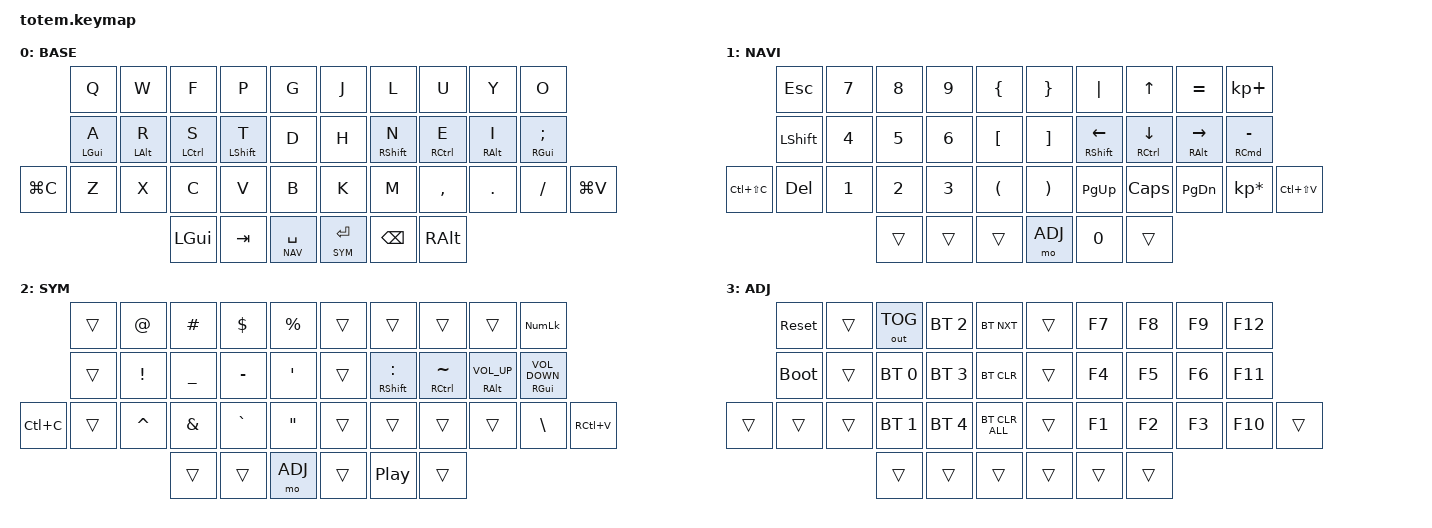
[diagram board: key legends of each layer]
//
//                                                        ▀▀▀▀▀     ▀▀▀▀▀          ▀▀█▀▀
//                                                        ▄▀▀▀▄  ▄  ▄▀▀▀▄  ▄  ▄▀▀▀▄  █  ▄▀▀▀▄
//                                                        █   █  █  █   █  █  █   █  █  █   █
//                                                         ▀▀▀   █   ▀▀▀   █   ▀▀▀   ▀   ▀▀▀
//                                                               █      ▄▄▄█▄▄▄    █   █  
//                                                               ▀      █  █  █     █▄█
//                                                             ▀▀▀▀▀    █  █  █      ▀
//                                                                      ▀  ▀  ▀
//
// ▄▄▄▄▄▄▄▄▄▄▄▄▄▄▄▄▄▄▄▄▄▄▄▄▄▄▄▄▄▄▄▄▄▄▄▄▄▄▄▄▄▄▄▄▄▄▄▄▄▄▄▄▄▄▄▄▄▄▄▄▄▄▄▄▄▄▄▄▄▄▄▄▄▄▄▄▄▄▄▄▄▄▄▄▄▄▄▄▄▄▄▄▄▄▄▄▄▄▄▄▄▄▄▄▄▄▄▄▄▄▄▄▄▄▄▄▄▄▄▄▄▄▄▄▄▄▄▄▄▄▄▄▄▄▄▄▄▄▄▄▄▄▄▄▄▄▄▄▄

#include <behaviors.dtsi>
#include <dt-bindings/zmk/bt.h>
#include <dt-bindings/zmk/keys.h>
#include <dt-bindings/zmk/outputs.h>

#define BASE 0
#define NAV  1
#define SYM  2
#define ADJ  3

&mt {
    quick-tap-ms = <100>;
    global-quick-tap;
    flavor = "tap-preferred";
    tapping-term-ms = <170>;
};

/ {
    combos {
        compatible = "zmk,combos";

        combo_esc {
            timeout-ms = <50>;
            key-positions = <0 1>;
            bindings = <&kp ESC>;
        };
    };

    macros {
        gif: gif {
            label = "giphy";
            compatible = "zmk,behavior-macro";
            #binding-cells = <0>;
            bindings =
                <&macro_press>,
                <&kp LSHFT>,
                <&macro_tap>,
                <&kp N2>,
                <&macro_release>,
                <&kp LSHFT>,
                <&macro_tap>,
                <&kp G &kp I &kp F>;
        };
    };

    keymap {
        compatible = "zmk,keymap";

        // ▄▄▄▄▄▄▄▄▄▄▄▄▄▄▄▄▄▄▄▄▄▄▄▄▄▄▄▄▄▄▄▄▄▄▄▄▄▄▄▄▄▄▄▄▄▄▄▄▄▄▄▄▄▄▄▄▄▄▄▄▄▄▄▄▄▄▄▄▄▄▄▄▄▄▄▄▄▄▄▄▄▄▄▄▄▄▄▄▄▄▄▄▄▄▄▄▄▄▄▄▄▄▄▄▄▄▄▄▄▄▄▄▄▄▄▄▄▄▄▄▄▄▄▄▄▄▄▄▄▄▄▄▄▄▄▄▄▄▄▄▄▄▄▄▄▄▄▄▄

        base_layer {
            // ┏━━━━━━━━━━━━━━━━━━━━━━━━━━━━━━━━━━━━━━━┓

            label = "BASE";

            // ┗━━━━━━━━━━━━━━━━━━━━━━━━━━━━━━━━━━━━━━━┛
            //             ┏━━━━━━━━━━━┳━━━━━━━━━━━┳━━━━━━━━━━━┳━━━━━━━━━━━┳━━━━━━━━━━━┓   ┏━━━━━━━━━━━┳━━━━━━━━━━━┳━━━━━━━━━━━┳━━━━━━━━━━━┳━━━━━━━━━━━┓
            //             ┃     Q     ┃     W     ┃     F     ┃     P     ┃     G     ┃   ┃     J     ┃     L     ┃     U     ┃     Y     ┃     ;     ┃
            //             ┣━━━━━━━━━━━╋━━━━━━━━━━━╋━━━━━━━━━━━╋━━━━━━━━━━━╋━━━━━━━━━━━┫   ┣━━━━━━━━━━━╋━━━━━━━━━━━╋━━━━━━━━━━━╋━━━━━━━━━━━╋━━━━━━━━━━━┫
            //             ┃     A     ┃     R     ┃     S     ┃     T     ┃     D     ┃   ┃     H     ┃     N     ┃     E     ┃     I     ┃     O     ┃
            // ┏━━━━━━━━━━━╋━━━━━━━━━━━╋━━━━━━━━━━━╋━━━━━━━━━━━╋━━━━━━━━━━━╋━━━━━━━━━━━┫   ┣━━━━━━━━━━━╋━━━━━━━━━━━╋━━━━━━━━━━━╋━━━━━━━━━━━╋━━━━━━━━━━━╋━━━━━━━━━━━┓
            // ┃           ┃     Z     ┃     X     ┃     C     ┃     V     ┃     B     ┃   ┃     K     ┃     M     ┃     ,     ┃     .     ┃     /     ┃           ┃
            // ┗━━━━━━━━━━━┻━━━━━━━━━━━┻━━━━━━━━━━━╋━━━━━━━━━━━╋━━━━━━━━━━━╋━━━━━━━━━━━┫   ┣━━━━━━━━━━━╋━━━━━━━━━━━╋━━━━━━━━━━━╋━━━━━━━━━━━┻━━━━━━━━━━━┻━━━━━━━━━━━┛
            //                                     ┃           ┃    TAB    ┃    SPC    ┃   ┃   ENTER   ┃   BSPC    ┃           ┃
            //                                     ┗━━━━━━━━━━━┻━━━━━━━━━━━┻━━━━━━━━━━━┛   ┗━━━━━━━━━━━┻━━━━━━━━━━━┻━━━━━━━━━━━┛

            bindings = <
           &kp Q       &kp W       &kp F         &kp P        &kp G            &kp J        &kp L        &kp U          &kp Y       &kp O
           &mt LGUI A  &mt LALT R  &mt LCTRL S   &mt LSHFT T  &kp D            &kp H        &mt RSHFT N  &mt RCTRL E    &mt RALT I  &mt RGUI SEMI
&kp LG(C)  &kp Z       &kp X       &kp C         &kp V        &kp B            &kp K        &kp M        &kp COMMA      &kp DOT     &kp FSLH       &kp LG(V)
                                   &kp LEFT_GUI  &kp TAB      &lt NAV SPACE    &lt SYM RET  &kp BSPC     &kp RIGHT_ALT
            >;
        };

        // ▄▄▄▄▄▄▄▄▄▄▄▄▄▄▄▄▄▄▄▄▄▄▄▄▄▄▄▄▄▄▄▄▄▄▄▄▄▄▄▄▄▄▄▄▄▄▄▄▄▄▄▄▄▄▄▄▄▄▄▄▄▄▄▄▄▄▄▄▄▄▄▄▄▄▄▄▄▄▄▄▄▄▄▄▄▄▄▄▄▄▄▄▄▄▄▄▄▄▄▄▄▄▄▄▄▄▄▄▄▄▄▄▄▄▄▄▄▄▄▄▄▄▄▄▄▄▄▄▄▄▄▄▄▄▄▄▄▄▄▄▄▄▄▄▄▄▄▄▄

        nav_layer {
            // ┏━━━━━━━━━━━━━━━━━━━━━━━━━━━━━━━━━━━━━━━┓

            label = "NAVI";

            // ┗━━━━━━━━━━━━━━━━━━━━━━━━━━━━━━━━━━━━━━━┛
            //             ┏━━━━━━━━━━━┳━━━━━━━━━━━┳━━━━━━━━━━━┳━━━━━━━━━━━┳━━━━━━━━━━━┓   ┏━━━━━━━━━━━┳━━━━━━━━━━━┳━━━━━━━━━━━┳━━━━━━━━━━━┳━━━━━━━━━━━┓
            //             ┃           ┃           ┃     UP    ┃           ┃     {     ┃   ┃     }     ┃     7     ┃     8     ┃     9     ┃     +     ┃
            //             ┣━━━━━━━━━━━╋━━━━━━━━━━━╋━━━━━━━━━━━╋━━━━━━━━━━━╋━━━━━━━━━━━┫   ┣━━━━━━━━━━━╋━━━━━━━━━━━╋━━━━━━━━━━━╋━━━━━━━━━━━╋━━━━━━━━━━━┫
            //             ┃   SHIFT   ┃   LEFT    ┃    DOWN   ┃   RIGHT   ┃     [     ┃   ┃     ]     ┃     4     ┃     5     ┃     6     ┃     -     ┃
            // ┏━━━━━━━━━━━╋━━━━━━━━━━━╋━━━━━━━━━━━╋━━━━━━━━━━━╋━━━━━━━━━━━╋━━━━━━━━━━━┫   ┣━━━━━━━━━━━╋━━━━━━━━━━━╋━━━━━━━━━━━╋━━━━━━━━━━━╋━━━━━━━━━━━╋━━━━━━━━━━━┓
            // ┃           ┃           ┃   P UP    ┃  C LOCK   ┃  P DOWN   ┃     (     ┃   ┃     )     ┃     1     ┃     2     ┃     3     ┃     *     ┃           ┃
            // ┗━━━━━━━━━━━┻━━━━━━━━━━━┻━━━━━━━━━━━╋━━━━━━━━━━━╋━━━━━━━━━━━╋━━━━━━━━━━━┫   ┣━━━━━━━━━━━╋━━━━━━━━━━━╋━━━━━━━━━━━╋━━━━━━━━━━━┻━━━━━━━━━━━┻━━━━━━━━━━━┛
            //                                     ┃           ┃    TAB    ┃    SPC    ┃   ┃    DEL    ┃     0     ┃           ┃
            //                                     ┗━━━━━━━━━━━┻━━━━━━━━━━━┻━━━━━━━━━━━┛   ┗━━━━━━━━━━━┻━━━━━━━━━━━┻━━━━━━━━━━━┛

            bindings = <
               &kp ESC    &kp N7        &kp N8        &kp N9        &kp LBRC    &kp RBRC  &kp PIPE        &kp UP_ARROW    &kp EQUAL            &kp KP_PLUS
               &kp LSHFT  &kp NUMBER_4  &kp N5        &kp NUMBER_6  &kp LBKT    &kp RBKT  &mt RSHFT LEFT  &mt RCTRL DOWN  &mt RIGHT_ALT RIGHT  &mt RCMD MINUS
&kp LC(LS(C))  &kp DEL    &kp NUMBER_1  &kp NUMBER_2  &kp NUMBER_3  &kp LPAR    &kp RPAR  &kp PG_UP       &kp CAPS        &kp PAGE_DOWN        &kp KP_MULTIPLY  &kp LC(LS(V))
                                        &trans        &trans        &trans      &mo ADJ   &kp NUMBER_0    &trans
            >;
        };

        // ▄▄▄▄▄▄▄▄▄▄▄▄▄▄▄▄▄▄▄▄▄▄▄▄▄▄▄▄▄▄▄▄▄▄▄▄▄▄▄▄▄▄▄▄▄▄▄▄▄▄▄▄▄▄▄▄▄▄▄▄▄▄▄▄▄▄▄▄▄▄▄▄▄▄▄▄▄▄▄▄▄▄▄▄▄▄▄▄▄▄▄▄▄▄▄▄▄▄▄▄▄▄▄▄▄▄▄▄▄▄▄▄▄▄▄▄▄▄▄▄▄▄▄▄▄▄▄▄▄▄▄▄▄▄▄▄▄▄▄▄▄▄▄▄▄▄▄▄▄

        sim_layer {
            // ┏━━━━━━━━━━━━━━━━━━━━━━━━━━━━━━━━━━━━━━━┓

            label = "SYM";

            // ┗━━━━━━━━━━━━━━━━━━━━━━━━━━━━━━━━━━━━━━━┛
            //             ┏━━━━━━━━━━━┳━━━━━━━━━━━┳━━━━━━━━━━━┳━━━━━━━━━━━┳━━━━━━━━━━━┓   ┏━━━━━━━━━━━┳━━━━━━━━━━━┳━━━━━━━━━━━┳━━━━━━━━━━━┳━━━━━━━━━━━┓
            //             ┃     !     ┃     @     ┃     #     ┃     $     ┃     %     ┃   ┃     ˆ     ┃     &     ┃     Ü     ┃     '     ┃     "     ┃
            //             ┣━━━━━━━━━━━╋━━━━━━━━━━━╋━━━━━━━━━━━╋━━━━━━━━━━━╋━━━━━━━━━━━┫   ┣━━━━━━━━━━━╋━━━━━━━━━━━╋━━━━━━━━━━━╋━━━━━━━━━━━╋━━━━━━━━━━━┫
            //             ┃     Ä     ┃           ┃    SZ     ┃           ┃           ┃   ┃   MUTE    ┃   YEN     ┃   EURO    ┃  POUND    ┃     Ö     ┃
            // ┏━━━━━━━━━━━╋━━━━━━━━━━━╋━━━━━━━━━━━╋━━━━━━━━━━━╋━━━━━━━━━━━╋━━━━━━━━━━━┫   ┣━━━━━━━━━━━╋━━━━━━━━━━━╋━━━━━━━━━━━╋━━━━━━━━━━━╋━━━━━━━━━━━╋━━━━━━━━━━━┓
            // ┃           ┃  EMAIL1   ┃  EMAIL2   ┃           ┃           ┃           ┃   ┃   VOL-    ┃   VOL+    ┃   LAST    ┃   NEXT    ┃     \     ┃           ┃
            // ┗━━━━━━━━━━━┻━━━━━━━━━━━┻━━━━━━━━━━━╋━━━━━━━━━━━╋━━━━━━━━━━━╋━━━━━━━━━━━┫   ┣━━━━━━━━━━━╋━━━━━━━━━━━╋━━━━━━━━━━━╋━━━━━━━━━━━┻━━━━━━━━━━━┻━━━━━━━━━━━┛
            //                                     ┃           ┃    GIF    ┃    ADJ    ┃   ┃           ┃           ┃           ┃
            //                                     ┗━━━━━━━━━━━┻━━━━━━━━━━━┻━━━━━━━━━━━┛   ┗━━━━━━━━━━━┻━━━━━━━━━━━┻━━━━━━━━━━━┛

            bindings = <
           &trans  &kp AT     &kp HASH   &kp DLLR   &kp PRCNT    &trans  &trans                 &trans           &trans                     &kp KP_NUMLOCK
           &trans  &kp EXCL   &kp UNDER  &kp MINUS  &kp SQT      &trans  &mt RIGHT_SHIFT COLON  &mt RCTRL TILDE  &mt RIGHT_ALT C_VOLUME_UP  &mt RIGHT_GUI C_VOLUME_DOWN
&kp LC(C)  &trans  &kp CARET  &kp AMPS   &kp GRAVE  &kp DQT      &trans  &trans                 &trans           &trans                     &kp BSLH                     &kp RC(V)
                              &trans     &trans     &mo ADJ      &trans  &kp C_PP               &trans
            >;
        };

        // ▄▄▄▄▄▄▄▄▄▄▄▄▄▄▄▄▄▄▄▄▄▄▄▄▄▄▄▄▄▄▄▄▄▄▄▄▄▄▄▄▄▄▄▄▄▄▄▄▄▄▄▄▄▄▄▄▄▄▄▄▄▄▄▄▄▄▄▄▄▄▄▄▄▄▄▄▄▄▄▄▄▄▄▄▄▄▄▄▄▄▄▄▄▄▄▄▄▄▄▄▄▄▄▄▄▄▄▄▄▄▄▄▄▄▄▄▄▄▄▄▄▄▄▄▄▄▄▄▄▄▄▄▄▄▄▄▄▄▄▄▄▄▄▄▄▄▄▄▄

        adjust_layer {
            // ┏━━━━━━━━━━━━━━━━━━━━━━━━━━━━━━━━━━━━━━━┓

            label = "ADJ";

            // ┗━━━━━━━━━━━━━━━━━━━━━━━━━━━━━━━━━━━━━━━┛
            //             ┏━━━━━━━━━━━┳━━━━━━━━━━━┳━━━━━━━━━━━┳━━━━━━━━━━━┳━━━━━━━━━━━┓   ┏━━━━━━━━━━━┳━━━━━━━━━━━┳━━━━━━━━━━━┳━━━━━━━━━━━┳━━━━━━━━━━━┓
            //             ┃   RESET   ┃ BT CLEAR  ┃  OUT TOG  ┃           ┃           ┃   ┃           ┃    F7     ┃    F8     ┃    F9     ┃    F12    ┃
            //             ┣━━━━━━━━━━━╋━━━━━━━━━━━╋━━━━━━━━━━━╋━━━━━━━━━━━╋━━━━━━━━━━━┫   ┣━━━━━━━━━━━╋━━━━━━━━━━━╋━━━━━━━━━━━╋━━━━━━━━━━━╋━━━━━━━━━━━┫
            //             ┃ BOOTLOAD  ┃ BT NEXT   ┃           ┃           ┃           ┃   ┃           ┃    F4     ┃    F5     ┃    F6     ┃    F11    ┃
            // ┏━━━━━━━━━━━╋━━━━━━━━━━━╋━━━━━━━━━━━╋━━━━━━━━━━━╋━━━━━━━━━━━╋━━━━━━━━━━━┫   ┣━━━━━━━━━━━╋━━━━━━━━━━━╋━━━━━━━━━━━╋━━━━━━━━━━━╋━━━━━━━━━━━╋━━━━━━━━━━━┓
            // ┃           ┃           ┃ BT PREV   ┃           ┃           ┃           ┃   ┃           ┃    F1     ┃    F2     ┃    F3     ┃    F10    ┃           ┃
            // ┗━━━━━━━━━━━┻━━━━━━━━━━━┻━━━━━━━━━━━╋━━━━━━━━━━━╋━━━━━━━━━━━╋━━━━━━━━━━━┫   ┣━━━━━━━━━━━╋━━━━━━━━━━━╋━━━━━━━━━━━╋━━━━━━━━━━━┻━━━━━━━━━━━┻━━━━━━━━━━━┛
            //                                     ┃           ┃           ┃           ┃   ┃           ┃           ┃           ┃
            //                                     ┗━━━━━━━━━━━┻━━━━━━━━━━━┻━━━━━━━━━━━┛   ┗━━━━━━━━━━━┻━━━━━━━━━━━┻━━━━━━━━━━━┛

            bindings = <
        &sys_reset   &trans  &out OUT_TOG  &bt BT_SEL 2  &bt BT_NXT        &trans  &kp F7  &kp F8  &kp F9  &kp F12
        &bootloader  &trans  &bt BT_SEL 0  &bt BT_SEL 3  &bt BT_CLR        &trans  &kp F4  &kp F5  &kp F6  &kp F11
&trans  &trans       &trans  &bt BT_SEL 1  &bt BT_SEL 4  &bt BT_CLR_ALL    &trans  &kp F1  &kp F2  &kp F3  &kp F10  &trans
                             &trans        &trans        &trans            &trans  &trans  &trans
            >;
        };
    };
};
